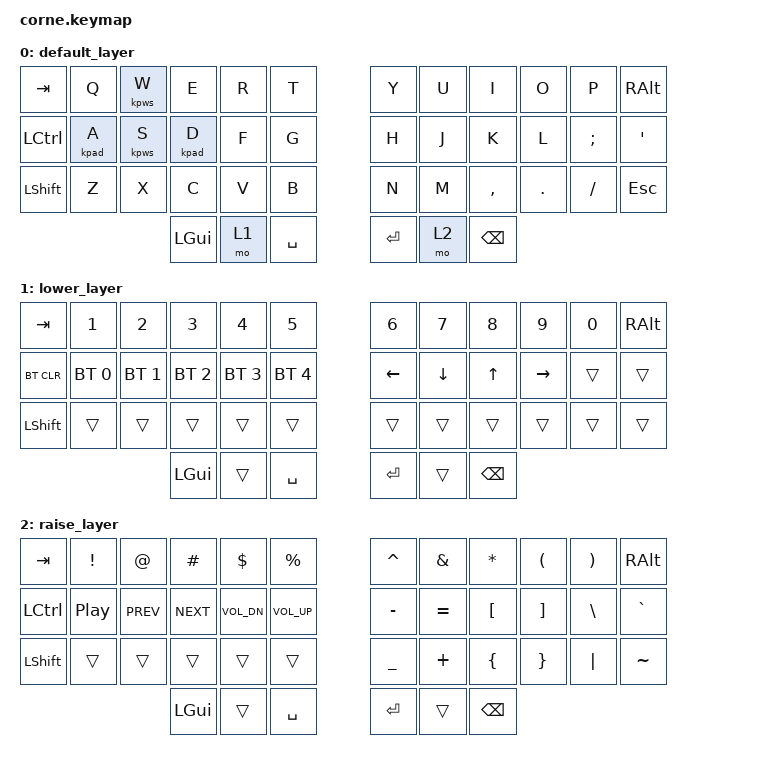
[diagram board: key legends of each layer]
/*
 * Copyright (c) 2020 The ZMK Contributors
 *
 * SPDX-License-Identifier: MIT
 */

#include <behaviors.dtsi>
#include <dt-bindings/zmk/keys.h>
#include <dt-bindings/zmk/bt.h>

/ {
        behaviors {
              
              /* Setup left and right of WASD */
              kpad: key_lip_a_d {
                      compatible = "zmk,behavior-key-press-lip";
                      #binding-cells = <1>;
                      keycodes = <A D>;
              };

              /* Setup up and down of WASD */
              kpws: key_lip_w_s {
                      compatible = "zmk,behavior-key-press-lip";
                      #binding-cells = <1>;
                      keycodes = <W S>;
              };

              /* Or, #include <behaviors/key_press_lip.dtsi> */

        };

        keymap {
                compatible = "zmk,keymap";

                default_layer {
// -----------------------------------------------------------------------------------------
// |  TAB |  Q  |  W  |  E  |  R  |  T  |   |  Y  |  U   |  I  |  O  |  P  | BSPC |
// | CTRL |  A  |  S  |  D  |  F  |  G  |   |  H  |  J   |  K  |  L  |  ;  |  '   |
// | SHFT |  Z  |  X  |  C  |  V  |  B  |   |  N  |  M   |  ,  |  .  |  /  | ESC  |
//                    | GUI | LWR | SPC |   | ENT | RSE  | ALT |
                        bindings = <
   &kp TAB   &kp Q &kpws W &kp E &kp R &kp T   &kp Y &kp U  &kp I     &kp O   &kp P    &kp RALT
   &kp LCTRL &kpad A &kpws S &kpad D &kp F &kp G   &kp H &kp J  &kp K     &kp L   &kp SEMI &kp SQT
   &kp LSHFT &kp Z &kp X &kp C &kp V &kp B   &kp N &kp M  &kp COMMA &kp DOT &kp FSLH &kp ESC
                  &kp LGUI &mo 1 &kp SPACE   &kp RET &mo 2 &kp BSPC
                        >;
                };
                lower_layer {
// ---------------------------------zzzz--------------------------------------------------------
// |  TAB |  1  |  2  |  3  |  4  |  5  |   |  6  |  7  |  8  |  9  |  0  | BSPC |
// | BTCLR| BT1 | BT2 | BT3 | BT4 | BT5 |   | LFT | DWN |  UP | RGT |     |      |
// | SHFT |     |     |     |     |     |   |     |     |     |     |     |      |
//                    | GUI |     | SPC |   | ENT |     | ALT |
                        bindings = <
   &kp TAB    &kp N1       &kp N2       &kp N3       &kp N4       &kp N5         &kp N6   &kp N7   &kp N8 &kp N9    &kp N0 &kp RALT
   &bt BT_CLR &bt BT_SEL 0 &bt BT_SEL 1 &bt BT_SEL 2 &bt BT_SEL 3 &bt BT_SEL 4   &kp LEFT &kp DOWN &kp UP &kp RIGHT &trans &trans
   &kp LSHFT  &trans       &trans       &trans       &trans       &trans         &trans   &trans   &trans &trans    &trans &trans
                                    &kp LGUI     &trans       &kp SPACE      &kp RET  &trans   &kp BSPC
                        >;
                };

                raise_layer {
// -----------------------------------------------------------------------------------------
// |  TAB |  !  |  @  |  #  |  $  |  %  |   |  ^  |  &  |  *  |  (  |  )  | BSPC |
// | CTRL |     |     |     |     |     |   |  -  |  =  |  [  |  ]  |  \  |  `   |
// | SHFT |     |     |     |     |     |   |  _  |  +  |  {  |  }  | "|" |  ~   |
//                    | GUI |     | SPC |   | ENT |     | ALT |
                        bindings = <
   &kp  TAB  &kp EXCL &kp AT &kp HASH &kp DLLR &kp PRCNT   &kp CARET &kp AMPS  &kp ASTRK &kp LPAR &kp RPAR &kp RALT
   &kp LCTRL &kp C_PP &kp C_PREV &kp C_NEXT &kp C_VOL_DN &kp C_VOL_UP      &kp MINUS &kp EQUAL &kp LBKT  &kp RBKT &kp BSLH &kp GRAVE
   &kp LSHFT &trans   &trans &trans   &trans   &trans      &kp UNDER &kp PLUS  &kp LBRC  &kp RBRC &kp PIPE &kp TILDE
                             &kp LGUI &trans   &kp SPACE   &kp RET   &trans    &kp BSPC
                        >;
                };
        };
};
